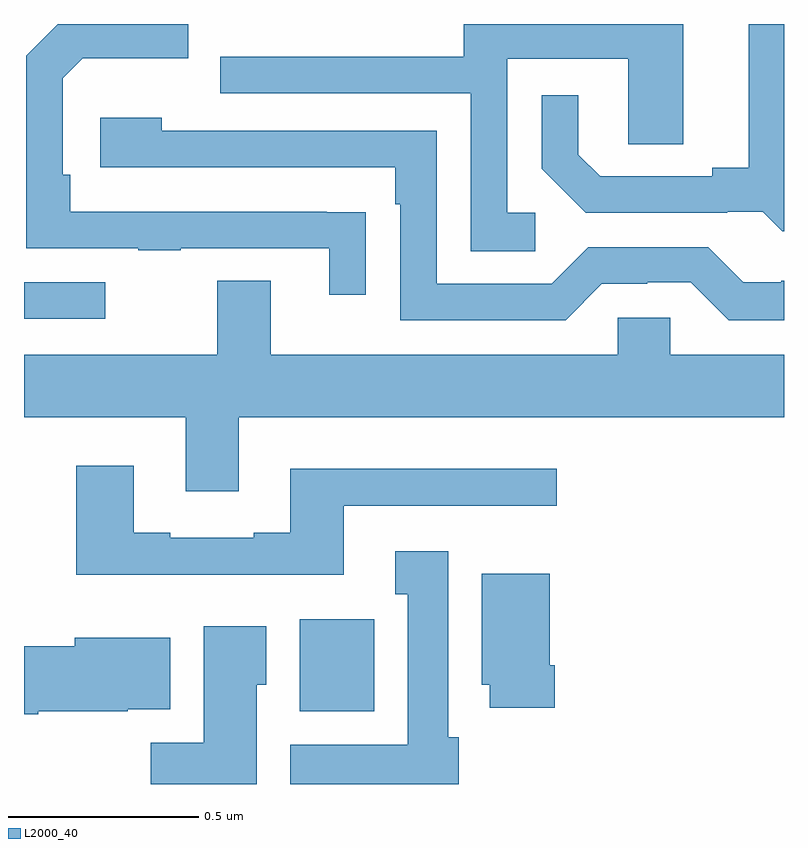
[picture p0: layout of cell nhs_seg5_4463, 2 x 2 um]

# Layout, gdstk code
import gdstk
lib = gdstk.Library(unit=1e-6, precision=1e-09)
def R(c, l, rs):  # rectangles x0, y0, x1, y1
    for r in rs: c.add(gdstk.rectangle(r[:2], r[2:], *l))
def P(c, l, *ps):  # polygons
    for p in ps: c.add(gdstk.Polygon(p, *l))
L2000_40 = (2000, 40)

nhs_seg5_4463 = lib.new_cell('nhs_seg5_4463')
R(nhs_seg5_4463, L2000_40, [(171.725,851.99,171.922,852.232), (171,853.023,171.214,853.119)])
P(nhs_seg5_4463, L2000_40, [(171.899,853.304),(171.797,853.304),(171.797,853.305),(171.122,853.305),(171.122,853.402),(171.102,853.402),(171.102,853.656),(171.155,853.709),(171.432,853.709),(171.432,853.799),(171.089,853.799),(171.006,853.716),(171.006,853.209),(171.301,853.209),(171.301,853.204),(171.413,853.204),(171.413,853.209),(171.803,853.209),(171.803,853.086),(171.899,853.086)],
  [(173,853.799),(172.907,853.799),(172.907,853.421),(172.811,853.421),(172.811,853.398),(172.516,853.398),(172.459,853.455),(172.459,853.612),(172.362,853.612),(172.362,853.418),(172.478,853.302),(172.85,853.302),(172.85,853.305),(172.944,853.305),(172.996,853.253),(173,853.253)],
  [(172.345,853.302),(172.272,853.302),(172.272,853.707),(172.59,853.707),(172.59,853.483),(172.735,853.483),(172.735,853.799),(172.157,853.799),(172.157,853.713),(171.517,853.713),(171.517,853.617),(172.176,853.617),(172.176,853.201),(172.345,853.201)],
  [(173,853.123),(172.993,853.123),(172.993,853.119),(172.893,853.119),(172.8,853.212),(172.485,853.212),(172.389,853.116),(172.086,853.116),(172.086,853.518),(171.362,853.518),(171.362,853.552),(171.201,853.552),(171.201,853.422),(171.977,853.422),(171.977,853.325),(171.99,853.325),(171.99,853.02),(172.425,853.02),(172.521,853.116),(172.64,853.116),(172.64,853.119),(172.755,853.119),(172.855,853.019),(173,853.019)],
  [(171.565,852.764),(173,852.764),(173,852.928),(172.701,852.928),(172.701,853.026),(172.563,853.026),(172.563,852.928),(171.649,852.928),(171.649,853.123),(171.509,853.123),(171.509,852.928),(171,852.928),(171,852.764),(171.425,852.764),(171.425,852.57),(171.565,852.57)],
  [(171.841,852.531),(172.402,852.531),(172.402,852.628),(171.701,852.628),(171.701,852.46),(171.605,852.46),(171.605,852.447),(171.385,852.447),(171.385,852.46),(171.289,852.46),(171.289,852.637),(171.137,852.637),(171.137,852.35),(171.841,852.35)],
  [(172.144,851.922),(172.117,851.922),(172.117,852.412),(171.977,852.412),(171.977,852.299),(172.01,852.299),(172.01,851.902),(171.701,851.902),(171.701,851.799),(172.144,851.799)],
  [(172.397,852.112),(172.384,852.112),(172.384,852.352),(172.205,852.352),(172.205,852.06),(172.226,852.06),(172.226,852),(172.397,852)],
  [(171.613,852.06),(171.637,852.06),(171.637,852.214),(171.473,852.214),(171.473,851.908),(171.334,851.908),(171.334,851.799),(171.613,851.799)],
  [(171.037,851.99),(171.273,851.99),(171.273,851.996),(171.385,851.996),(171.385,852.184),(171.134,852.184),(171.134,852.161),(171,852.161),(171,851.983),(171.037,851.983)])

lib.write_gds('nhs_seg5_4463.gds')
